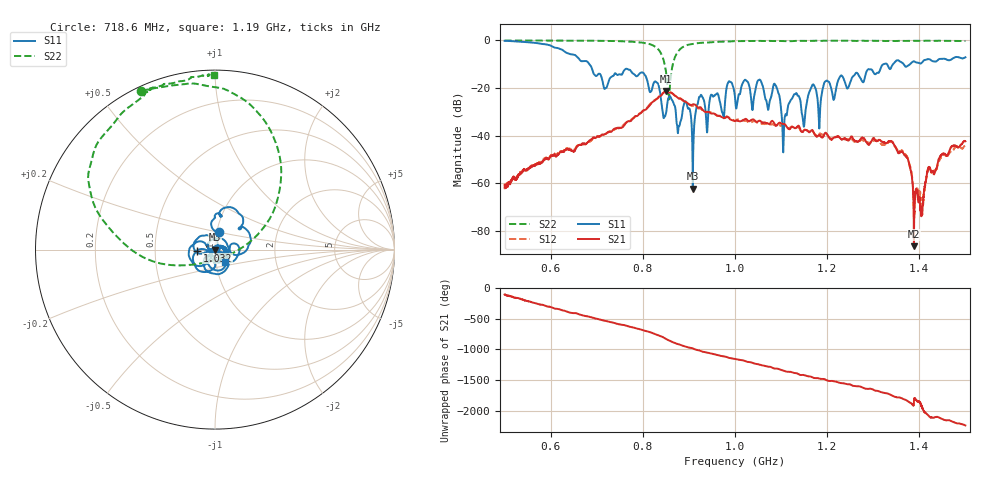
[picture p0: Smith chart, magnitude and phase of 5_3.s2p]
!Agilent Technologies,E8364B,US42250235,A.06.04.32
!Agilent E8364B: A.06.04.32
!Date: Thursday, October 01, 2020 14:35:53
!Correction: S11(Full 2 Port(1,2)) S21(Full 2 Port(1,2)) S12(Full 2 Port(1,2)) S22(Full 2 Port(1,2))
!S2P File: Measurements: S11, S21, S12, S22:
# Hz S  dB  R 50
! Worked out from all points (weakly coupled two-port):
!   2650 points, 500 MHz to 1.5 GHz, reference 50 ohm
!   highest |S21| = -21.35 dB at 850.3 MHz (marker M1); lowest = -86.4 dB at 1.388 GHz (marker M2)
!   lowest |S11| = -62.3 dB at 908.5 MHz (marker M3), VSWR 1.00, Z = 50.1 + j0.0242 ohm
!   |S11| at or under -10 dB: 683.8 MHz to 1.323 GHz (639.3 MHz wide, 63.7 % of centre); 1.33 GHz to 1.343 GHz (13.48 MHz wide, 1.01 % of centre); 1.366 GHz to 1.38 GHz (14.35 MHz wide, 1.04 % of centre)
!   |S22| runs from -24.9 to -0.1 dB; largest |S21 - S12| = 0.0038
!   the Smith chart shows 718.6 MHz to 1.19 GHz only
!   S11 on the Smith chart (normalised r, x): 718.6 MHz: 1.03, +0.20; 1.032 GHz: 0.82, -0.01; 1.19 GHz: 1.10, -0.16
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5e8  -0.24 -175.3  -60.61 -104.3  -62.51 -108.9  -0.14 138.3
5.958852e8  -1.97 121.9  -50.05 58.7  -49.59 61.9  -0.16 129.6
6.668554e8  -8.80 72.7  -43.89 -77.8  -43.73 -77.9  -0.20 120.4
7.18573e8  -20.16 76.2  -39.37 -174.3  -39.38 -168.9  -0.25 115.0
8.337108e8  -18.64 -35.2  -23.83 -48.5  -24.03 -47.1  -3.86 56.1
8.503209e8  -30.55 15.0  -21.35 -108.7  -21.41 -106.3  -13.35 14.8
8.94111e8  -26.03 -31.0  -26.01 122.9  -26.06 122.7  -2.18 153.9
9.08456e8  -62.31 18.4  -26.87 96.0  -27.48 93.9  -1.56 146.5
9.250661e8  -23.12 -23.7  -28.10 55.3  -28.58 57.6  -1.11 138.8
9.390336e8  -38.25 170.3  -30.13 31.0  -30.42 34.7  -0.97 131.9
1.000189e9  -24.24 -143.3  -33.90 -74.7  -33.90 -75.4  -0.39 113.7
1.031899e9  -19.95 -176.9  -33.94 -127.1  -34.44 -131.9  -0.29 111.8
1.087769e9  -18.78 146.5  -35.66 125.3  -35.85 127.1  -0.35 108.2
1.106267e9  -37.12 -127.9  -35.05 91.6  -35.66 94.6  -0.39 104.1
1.130427e9  -22.68 23.0  -36.90 53.6  -36.89 52.4  -0.30 98.1
1.149679e9  -36.27 124.9  -37.89 21.7  -37.70 20.7  -0.24 94.2
1.166667e9  -19.32 -58.5  -37.73 -10.5  -37.94 -14.0  -0.27 92.1
1.189694e9  -20.92 -52.6  -40.84 -41.1  -39.71 -48.5  -0.26 90.3
1.333522e9  -11.38 -157.4  -42.39 73.8  -42.74 75.0  -0.30 78.4
1.372782e9  -10.97 -170.8  -49.20 -33.1  -48.59 -36.6  -0.29 72.8
1.38826e9  -8.86 -177.0  -86.42 -63.9  -74.96 -105.8  -0.21 71.7
1.5e9  -7.16 141.7  -42.43 -81.0  -44.09 -80.2  -0.34 64.7
